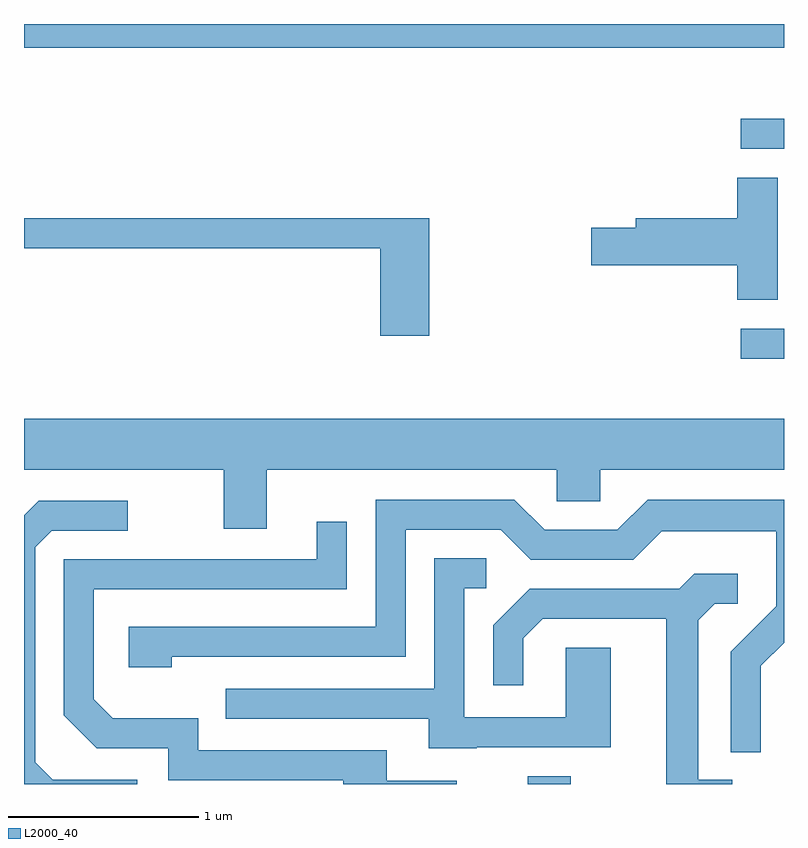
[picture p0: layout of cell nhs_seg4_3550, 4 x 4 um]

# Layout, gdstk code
import gdstk
lib = gdstk.Library(unit=1e-6, precision=1e-09)
def R(c, l, rs):  # rectangles x0, y0, x1, y1
    for r in rs: c.add(gdstk.rectangle(r[:2], r[2:], *l))
def P(c, l, *ps):  # polygons
    for p in ps: c.add(gdstk.Polygon(p, *l))
L2000_40 = (2000, 40)

nhs_seg4_3550 = lib.new_cell('nhs_seg4_3550')
R(nhs_seg4_3550, L2000_40, [(292.261,1281.982,292.489,1282.024), (293.383,1284.221,293.611,1284.379), (293.383,1285.326,293.611,1285.484), (289.611,1285.856,293.611,1285.982)])
P(nhs_seg4_3550, L2000_40, [(293.579,1285.174),(293.366,1285.174),(293.366,1284.959),(292.831,1284.959),(292.831,1284.909),(292.596,1284.909),(292.596,1284.711),(293.366,1284.711),(293.366,1284.531),(293.579,1284.531)],
  [(291.744,1284.959),(289.611,1284.959),(289.611,1284.801),(291.486,1284.801),(291.486,1284.341),(291.744,1284.341)],
  [(290.889,1283.636),(292.416,1283.636),(292.416,1283.471),(292.644,1283.471),(292.644,1283.636),(293.611,1283.636),(293.611,1283.904),(289.611,1283.904),(289.611,1283.636),(290.661,1283.636),(290.661,1283.326),(290.889,1283.326)],
  [(293.489,1282.604),(293.611,1282.726),(293.611,1283.479),(292.894,1283.479),(292.734,1283.319),(292.352,1283.319),(292.192,1283.479),(291.461,1283.479),(291.461,1282.809),(290.161,1282.809),(290.161,1282.596),(290.389,1282.596),(290.389,1282.651),(291.619,1282.651),(291.619,1283.321),(292.119,1283.321),(292.279,1283.161),(292.817,1283.161),(292.967,1283.311),(293.571,1283.311),(293.571,1282.917),(293.331,1282.677),(293.331,1282.148),(293.489,1282.148)],
  [(290.208,1282.004),(289.762,1282.004),(289.669,1282.097),(289.669,1283.229),(289.757,1283.316),(290.158,1283.316),(290.158,1283.474),(289.689,1283.474),(289.611,1283.396),(289.611,1281.982),(290.208,1281.982)],
  [(291.888,1281.999),(291.519,1281.999),(291.519,1282.159),(290.529,1282.159),(290.529,1282.329),(290.077,1282.329),(289.979,1282.427),(289.979,1283.006),(291.309,1283.006),(291.309,1283.363),(291.151,1283.363),(291.151,1283.164),(289.821,1283.164),(289.821,1282.344),(289.994,1282.171),(290.371,1282.171),(290.371,1282.001),(291.291,1282.001),(291.291,1281.982),(291.888,1281.982)],
  [(291.995,1282.176),(292.699,1282.176),(292.699,1282.699),(292.461,1282.699),(292.461,1282.334),(291.929,1282.334),(291.929,1283.011),(292.043,1283.011),(292.043,1283.169),(291.771,1283.169),(291.771,1282.484),(290.673,1282.484),(290.673,1282.326),(291.741,1282.326),(291.741,1282.171),(291.995,1282.171)],
  [(293.338,1282.004),(293.159,1282.004),(293.159,1282.844),(293.247,1282.931),(293.368,1282.931),(293.368,1283.089),(293.139,1283.089),(293.059,1283.009),(292.274,1283.009),(292.081,1282.817),(292.081,1282.503),(292.239,1282.503),(292.239,1282.749),(292.342,1282.851),(292.991,1282.851),(292.991,1281.982),(293.338,1281.982)])

lib.write_gds('nhs_seg4_3550.gds')
